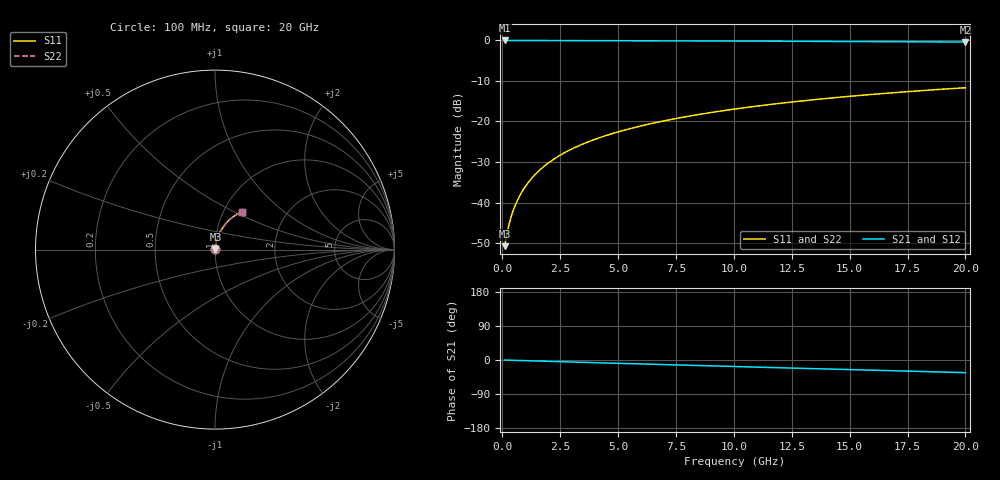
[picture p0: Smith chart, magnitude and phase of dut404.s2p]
! Touchstone file exported from HFSS 2026.1.0
!  File:  C:/ffzhzh/LocalFiles/Ansys_Project_Files/temp_train_TMRDL_404_1783004961_51716.aedt
!  Generated:  11:10:47 PM Jul  2, 2026
!  Design:  TMRDL
!  Project:  temp_train_TMRDL_404_1783004961_51716
! Variables:
!  h_bsmrdl = 2um
!  h_ox = 20um
!  h_rdl = 5um
!  h_sub = 80um
!  h_tmrdl = 5.7um
!  h_tsv = 80um
!  h_via = 3um
!  l_bsmrdl = 300um
!  l_sub = 928.95um
!  l_tmrdl = 528.95um
!  m_sub = 200um
!  pitch = 31.12um
!  r_tsv = 6um
!  s_tmrdl = 10um
!  w_bsmrdl = 18um
!  w_sub = 500um
!  w_tmrdl = 14.74um
!  x_tsv_center1 = 536.32um
!  x_tsv_center2 = 854.32um
!  x_tsv_center3 = 1398.01um
!  x_tsv_center4 = 1716.01um
!  x_tsv_center5 = 2259.7um
!  x_tsv_center6 = 2577.7um
# GHz S MA R 50.000000
! Terminal data exported
! Port[1] = TM_RDL1_1_T1
! Port[2] = TM_RDL1_1_T2
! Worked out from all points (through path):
!   200 points, 100 MHz to 20 GHz, reference 50 ohm
!   highest |S21| = -0.02 dB at 100 MHz (marker M1); lowest = -0.4 dB at 20 GHz (marker M2)
!   group delay of S21, straight-line fit = 4.62 ps
!   lowest |S11| = -50.8 dB at 100 MHz (marker M3), VSWR 1.01, Z = 50.2 + j0.171 ohm
!   |S11| at or under -10 dB: start of sweep to end of sweep
!   |S22| runs from -50.8 to -11.7 dB; largest |S21 - S12| = 3.5e-15
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0.1  0.002894 35.9  0.9977 -0.2  0.9977 -0.2  0.002894 35.9
! Gamma 0 0 0 0
! Port Impedance 50 0 50 0
0.2  0.004135 53.2  0.9975 -0.4  0.9975 -0.4  0.004135 53.2
0.3  0.005513 61.8  0.9974 -0.5  0.9974 -0.5  0.005513 61.8
0.4  0.006935 66.9  0.9973 -0.7  0.9973 -0.7  0.006935 66.9
0.5  0.008384 70.3  0.9973 -0.9  0.9973 -0.9  0.008384 70.3
0.6  0.009855 72.7  0.9972 -1.1  0.9972 -1.1  0.009855 72.7
0.8  0.01283 75.8  0.9971 -1.4  0.9971 -1.4  0.01283 75.8
1.1  0.01735 78.1  0.9969 -2.0  0.9969 -2.0  0.01735 78.1
1.3  0.02038 78.9  0.9967 -2.3  0.9967 -2.3  0.02038 78.9
1.6  0.02491 79.6  0.9964 -2.9  0.9964 -2.9  0.02491 79.6
2.1  0.03242 79.8  0.9959 -3.7  0.9959 -3.7  0.03242 79.8
2.7  0.04132 79.5  0.9951 -4.8  0.9951 -4.8  0.04132 79.5
3.5  0.053 78.7  0.9938 -6.2  0.9938 -6.2  0.053 78.7
4.2  0.06304 77.8  0.9927 -7.4  0.9927 -7.4  0.06304 77.8
5  0.07434 76.7  0.9913 -8.7  0.9913 -8.7  0.07434 76.7
5.9  0.08686 75.4  0.9897 -10.3  0.9897 -10.3  0.08686 75.4
6.8  0.0992 74.1  0.9879 -11.8  0.9879 -11.8  0.0992 74.1
8.3  0.1194 71.9  0.9849 -14.3  0.9849 -14.3  0.1194 71.9
10.1  0.1431 69.2  0.9809 -17.3  0.9809 -17.3  0.1431 69.2
13.4  0.1848 64.2  0.9728 -22.8  0.9728 -22.8  0.1848 64.1
16.7  0.2241 59.1  0.9636 -28.1  0.9636 -28.1  0.2241 59.1
20  0.2606 54.1  0.9538 -33.3  0.9538 -33.3  0.2606 54.1
